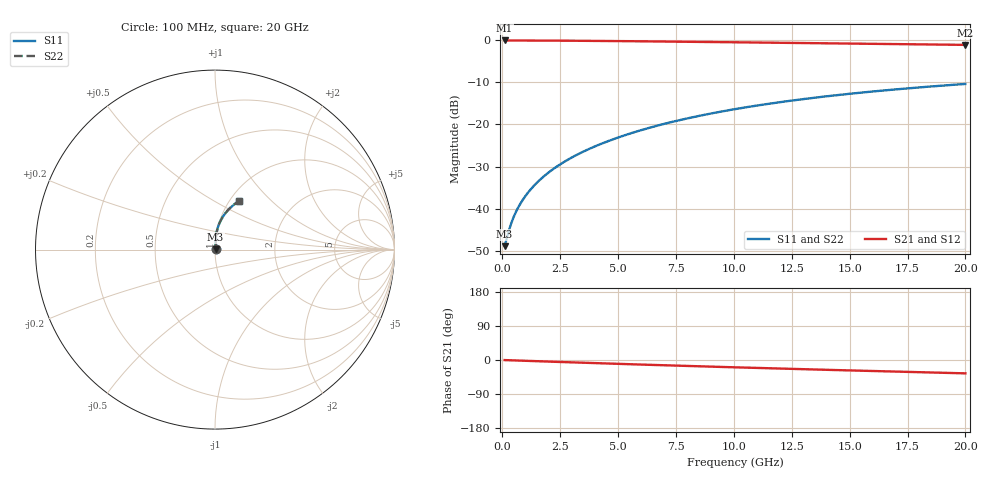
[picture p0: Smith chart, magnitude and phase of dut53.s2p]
! Touchstone file exported from HFSS 2024.1.0
!  File:  C:/UserFiles/LocalFiles/RDL_TSV_Batchsim/temp_RDL_top_53_1778681428.aedt
!  Generated:  10:12:35 PM May 13, 2026
!  Design:  RDL_top
!  Project:  temp_RDL_top_53_1778681428
!  Setup:  Setup1
!  Solution:  Sweep
! Variables:
!  dtsv = 10.80580581um
!  hbump = 3um
!  htsv = 81.17um
!  ldown = 100um
!  lrdl = 503.08um
!  p = 40
!  p1 = 46.61um
!  rhole = 1um
!  t = 450um
!  tdown = 3.915915916um
!  trdl = 2.52um
!  wdown = 15.38538539um
!  wrdl = 24.17um
# GHz S MA R 50.000000
! Terminal data exported
! Port[1] = Box2_T1
! Port[2] = Box2_T2
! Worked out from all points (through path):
!   200 points, 100 MHz to 20 GHz, reference 50 ohm
!   highest |S21| = -0.03 dB at 100 MHz (marker M1); lowest = -1.1 dB at 20 GHz (marker M2)
!   group delay of S21, straight-line fit = 4.85 ps
!   lowest |S11| = -48.9 dB at 100 MHz (marker M3), VSWR 1.01, Z = 50.3 + j0.154 ohm
!   |S11| at or under -10 dB: start of sweep to end of sweep
!   |S22| runs from -48.9 to -10.4 dB; largest |S21 - S12| = 4.2e-15
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0.1  0.003573 25.4  0.9968 -0.2  0.9968 -0.2  0.003573 25.4
! Gamma 0 0 0 0
! Port Impedance 50 0 50 0
0.3  0.005648 51.8  0.9964 -0.7  0.9964 -0.7  0.005648 51.8
0.4  0.006849 57.8  0.9962 -0.9  0.9962 -0.9  0.006849 57.8
0.5  0.008057 62.0  0.996 -1.1  0.996 -1.1  0.008057 62.0
0.6  0.009262 65.2  0.9958 -1.3  0.9958 -1.3  0.009262 65.2
0.8  0.01168 69.8  0.9954 -1.7  0.9954 -1.7  0.01168 69.8
1  0.01412 73.1  0.995 -2.1  0.995 -2.1  0.01412 73.1
1.2  0.01659 75.5  0.9947 -2.5  0.9947 -2.5  0.01659 75.5
1.7  0.02295 79.6  0.9935 -3.6  0.9935 -3.6  0.02295 79.6
2.2  0.02952 82.1  0.9921 -4.6  0.9921 -4.6  0.02953 82.1
2.8  0.03768 83.9  0.9901 -5.8  0.9901 -5.8  0.03769 83.9
3.5  0.04756 85.0  0.9872 -7.2  0.9872 -7.2  0.04757 85.1
4.2  0.0578 85.6  0.9839 -8.6  0.9839 -8.6  0.05782 85.7
5  0.06993 85.7  0.9797 -10.2  0.9797 -10.2  0.06997 85.8
5.9  0.08403 85.3  0.9746 -11.9  0.9746 -11.9  0.08408 85.4
6.8  0.0985 84.6  0.9692 -13.6  0.9692 -13.6  0.09858 84.7
8.4  0.1248 82.7  0.959 -16.4  0.959 -16.4  0.1249 82.7
10.1  0.153 80.1  0.948 -19.4  0.948 -19.4  0.1532 80.2
11.7  0.1793 77.4  0.9375 -22.1  0.9375 -22.1  0.1795 77.5
13.4  0.2066 74.5  0.9263 -24.9  0.9263 -24.9  0.2069 74.6
16.7  0.257 68.8  0.9046 -30.2  0.9046 -30.2  0.2573 68.9
20  0.3031 63.3  0.8831 -35.2  0.8831 -35.2  0.3035 63.3
